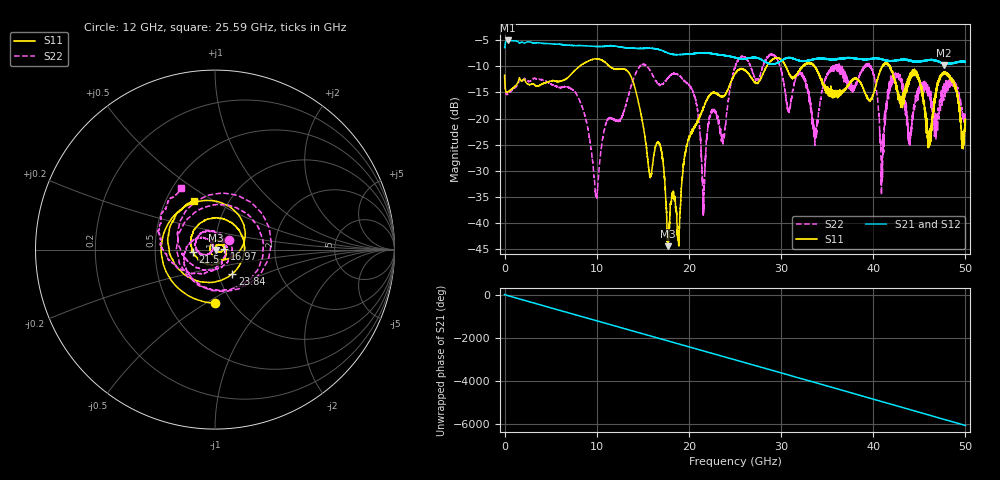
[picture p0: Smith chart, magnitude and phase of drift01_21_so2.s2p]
!Created with skrf (http://scikit-rf.org).
# Hz S RI R 50.0
!freq ReS11 ImS11 ReS21 ImS21 ReS12 ImS12 ReS22 ImS22
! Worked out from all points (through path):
!   10001 points, 300 kHz to 50 GHz, reference 50 ohm
!   highest |S21| = -5.05 dB at 325.3 MHz (marker M1); lowest = -9.7 dB at 47.67 GHz (marker M2)
!   group delay of S21, straight-line fit = 336 ps
!   lowest |S11| = -44.4 dB at 17.7 GHz (marker M3), VSWR 1.01, Z = 50.6 - j0.139 ohm
!   |S11| at or under -10 dB: start of sweep to 8.149 GHz; 11.4 GHz to 28.43 GHz (17.03 GHz wide, 85.5 % of centre); 41.79 GHz to end of sweep (the widest 3 of 11)
!   |S22| runs from -38.5 to -7.7 dB; largest |S21 - S12| = 0.013
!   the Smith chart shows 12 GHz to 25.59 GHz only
!   S11 on the Smith chart (normalised r, x): 12 GHz: 0.84, -0.55; 16.97 GHz: 1.11, +0.01; 21.5 GHz: 0.78, -0.02; 23.84 GHz: 1.17, -0.32; 25.59 GHz: 0.69, +0.41
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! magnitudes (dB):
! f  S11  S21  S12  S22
! 300 kHz  -11.7  -6.4  -6.5  -11.8
! 325.3 MHz  -14.9  -5.1  -5.1  -15.4
! 8.335 GHz  -9.7  -6.0  -6.0  -17.4
! 9.935 GHz  -8.6  -6.2  -6.2  -34.6
! 12 GHz  -10.5  -6.1  -6.1  -20.5
! 15.78 GHz  -31.2  -6.5  -6.5  -10.8
! 16.67 GHz  -24.4  -6.8  -6.8  -13.4
! 16.97 GHz  -25.9  -6.9  -6.9  -13.5
! 17.7 GHz  -44.4  -7.4  -7.4  -12.3
! 20.5 GHz  -22.0  -7.6  -7.6  -15.1
! 21.5 GHz  -18.1  -7.4  -7.4  -34.6
! 22.45 GHz  -15.2  -7.5  -7.5  -18.8
! 23.84 GHz  -15.6  -7.9  -7.9  -23.6
! 25 GHz  -11.4  -8.3  -8.4  -10.2
! 25.59 GHz  -10.5  -8.6  -8.6  -8.1
! 33.34 GHz  -9.6  -8.7  -8.7  -19.3
! 39.49 GHz  -16.5  -8.6  -8.6  -9.9
! 40.95 GHz  -10.2  -8.7  -8.6  -27.1
! 41.67 GHz  -9.8  -8.9  -9.0  -14.8
! 46.1 GHz  -25.2  -8.8  -8.8  -15.1
! 47.67 GHz  -11.4  -9.7  -9.5  -14.5
! 50 GHz  -21.3  -9.2  -9.1  -20.4
